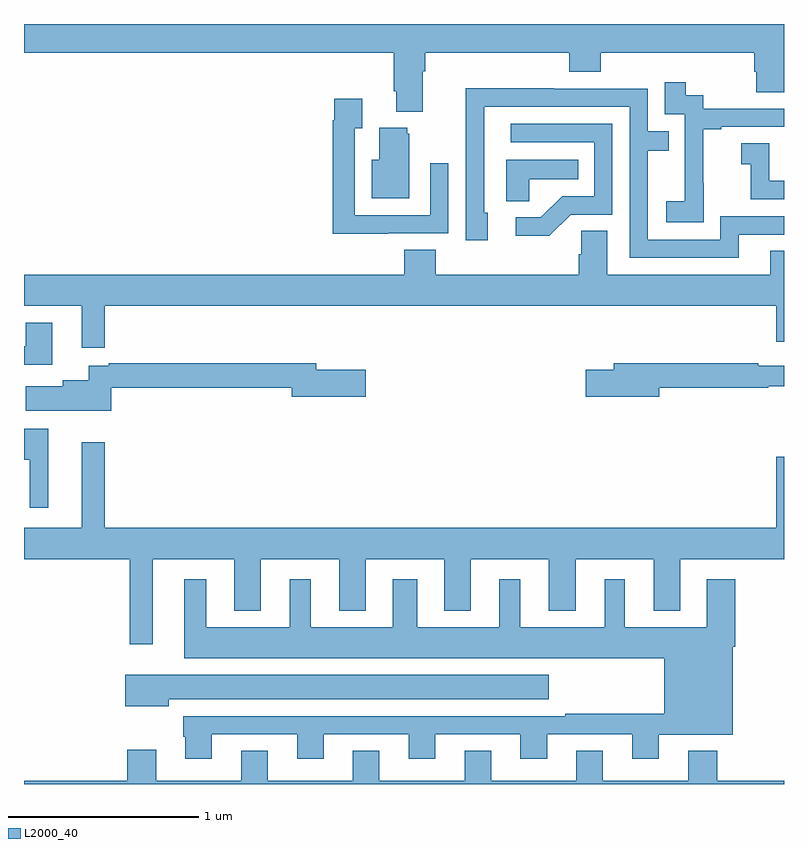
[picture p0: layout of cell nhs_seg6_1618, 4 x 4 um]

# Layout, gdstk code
import gdstk
lib = gdstk.Library(unit=1e-6, precision=1e-09)
def P(c, l, *ps):  # polygons
    for p in ps: c.add(gdstk.Polygon(p, *l))
L2000_40 = (2000, 40)

nhs_seg6_1618 = lib.new_cell('nhs_seg6_1618')
P(nhs_seg6_1618, L2000_40, [(211.099,935.252),(211.112,935.252),(211.112,935.348),(211.871,935.348),(211.871,935.249),(212.036,935.249),(212.036,935.348),(212.843,935.348),(212.843,935.25),(212.855,935.25),(212.855,935.14),(213,935.14),(213,935.5),(209,935.5),(209,935.348),(210.947,935.348),(210.947,935.146),(210.959,935.146),(210.959,935.039),(211.099,935.039)],
  [(212.577,934.663),(212.576,934.663),(212.576,934.947),(212.671,934.947),(212.671,934.959),(213,934.959),(213,935.055),(212.574,935.055),(212.574,935.124),(212.482,935.124),(212.482,935.194),(212.373,935.194),(212.373,935.025),(212.478,935.025),(212.478,934.796),(212.477,934.796),(212.477,934.567),(212.379,934.567),(212.379,934.457),(212.577,934.457)],
  [(212.761,934.392),(213,934.392),(213,934.488),(212.664,934.488),(212.664,934.365),(212.283,934.365),(212.283,934.834),(212.393,934.834),(212.393,934.935),(212.283,934.935),(212.283,935.16),(211.787,935.16),(211.787,935.162),(211.324,935.162),(211.324,934.855),(211.326,934.855),(211.326,934.362),(211.441,934.362),(211.441,934.506),(211.422,934.506),(211.422,935.064),(212.187,935.064),(212.187,934.269),(212.761,934.269)],
  [(210.917,934.398),(211.233,934.398),(211.233,934.768),(211.137,934.768),(211.137,934.494),(210.741,934.494),(210.741,934.951),(210.781,934.951),(210.781,935.107),(210.633,935.107),(210.633,934.994),(210.625,934.994),(210.625,934.397),(210.917,934.397)],
  [(211.878,934.497),(212.097,934.497),(212.097,934.974),(211.563,934.974),(211.563,934.878),(212.001,934.878),(212.001,934.593),(211.832,934.593),(211.721,934.482),(211.587,934.482),(211.587,934.385),(211.765,934.385)],
  [(211.027,934.923),(211.016,934.923),(211.016,934.954),(210.869,934.954),(210.869,934.786),(210.83,934.786),(210.83,934.583),(211.027,934.583)],
  [(213,934.674),(212.922,934.674),(212.922,934.873),(212.775,934.873),(212.775,934.763),(212.824,934.763),(212.824,934.578),(213,934.578)],
  [(211.659,934.682),(211.916,934.682),(211.916,934.786),(211.538,934.786),(211.538,934.567),(211.659,934.567)],
  [(209.425,934.016),(212.96,934.016),(212.96,933.828),(213,933.828),(213,934.307),(212.927,934.307),(212.927,934.18),(212.071,934.18),(212.071,934.412),(211.932,934.412),(211.932,934.289),(211.919,934.289),(211.919,934.18),(211.166,934.18),(211.166,934.313),(211.001,934.313),(211.001,934.18),(209,934.18),(209,934.016),(209.303,934.016),(209.303,933.795),(209.425,933.795)],
  [(209.149,933.928),(209.009,933.928),(209.009,933.805),(209,933.805),(209,933.707),(209.149,933.707)],
  [(209.459,933.586),(210.41,933.586),(210.41,933.539),(210.799,933.539),(210.799,933.681),(210.538,933.681),(210.538,933.715),(209.446,933.715),(209.446,933.702),(209.342,933.702),(209.342,933.625),(209.204,933.625),(209.204,933.593),(209.01,933.593),(209.01,933.464),(209.459,933.464)],
  [(212.344,933.586),(212.918,933.586),(212.918,933.594),(213,933.594),(213,933.702),(212.864,933.702),(212.864,933.715),(212.105,933.715),(212.105,933.681),(211.956,933.681),(211.956,933.539),(212.344,933.539)],
  [(209.128,933.37),(209,933.37),(209,933.206),(209.03,933.206),(209.03,932.955),(209.128,932.955)],
  [(209.677,932.684),(210.107,932.684),(210.107,932.411),(210.247,932.411),(210.247,932.684),(210.659,932.684),(210.659,932.411),(210.799,932.411),(210.799,932.684),(211.211,932.684),(211.211,932.411),(211.351,932.411),(211.351,932.684),(211.763,932.684),(211.763,932.411),(211.903,932.411),(211.903,932.684),(212.315,932.684),(212.315,932.411),(212.455,932.411),(212.455,932.684),(213,932.684),(213,933.223),(212.96,933.223),(212.96,932.848),(209.425,932.848),(209.425,933.298),(209.303,933.298),(209.303,932.848),(209,932.848),(209,932.684),(209.556,932.684),(209.556,932.235),(209.677,932.235)],
  [(209.989,931.761),(210.437,931.761),(210.437,931.632),(210.577,931.632),(210.577,931.761),(211.025,931.761),(211.025,931.632),(211.165,931.632),(211.165,931.761),(211.613,931.761),(211.613,931.632),(211.753,931.632),(211.753,931.761),(212.201,931.761),(212.201,931.632),(212.341,931.632),(212.341,931.76),(212.731,931.76),(212.731,932.222),(212.744,932.222),(212.744,932.578),(212.594,932.578),(212.594,932.326),(212.161,932.326),(212.161,932.578),(212.057,932.578),(212.057,932.326),(211.612,932.326),(211.612,932.578),(211.502,932.578),(211.502,932.326),(211.069,932.326),(211.069,932.578),(210.941,932.578),(210.941,932.326),(210.508,932.326),(210.508,932.578),(210.398,932.578),(210.398,932.326),(209.959,932.326),(209.959,932.578),(209.843,932.578),(209.843,932.162),(212.369,932.162),(212.369,931.87),(211.849,931.87),(211.849,931.857),(209.837,931.857),(209.837,931.749),(209.849,931.749),(209.849,931.632),(209.989,931.632)],
  [(209.761,931.946),(211.762,931.946),(211.762,932.074),(209.532,932.074),(209.532,931.91),(209.761,931.91)],
  [(213,931.516),(212.648,931.516),(212.648,931.675),(212.495,931.675),(212.495,931.516),(212.047,931.516),(212.047,931.676),(211.907,931.676),(211.907,931.516),(211.459,931.516),(211.459,931.676),(211.319,931.676),(211.319,931.516),(210.871,931.516),(210.871,931.676),(210.731,931.676),(210.731,931.516),(210.283,931.516),(210.283,931.676),(210.143,931.676),(210.143,931.516),(209.695,931.516),(209.695,931.681),(209.543,931.681),(209.543,931.516),(209,931.516),(209,931.5),(213,931.5)])

lib.write_gds('nhs_seg6_1618.gds')
